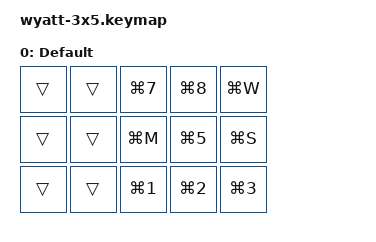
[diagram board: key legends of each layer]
#include <behaviors.dtsi>
#include <dt-bindings/zmk/bt.h>
#include <dt-bindings/zmk/keys.h>
#include <dt-bindings/zmk/outputs.h>

/ {
    combos {
        compatible = "zmk,combos";

        two-hand-hold-down-bootloader {
            bindings = <&bootloader>;
            key-positions = <0 10 4 14>;
        };

        bt_clr_all {
            bindings = <&bt BT_CLR_ALL>;
            key-positions = <0 1 2>;
        };

        bt_sel_0 {
            bindings = <&bt BT_SEL 0>;
            key-positions = <0 5 10>;
        };

        bt_sel_1 {
            bindings = <&bt BT_SEL 1>;
            key-positions = <1 6 11>;
        };

        bt_sel_2 {
            bindings = <&bt BT_SEL 2>;
            key-positions = <2 7 12>;
        };

        out_ble {
            bindings = <&out OUT_BLE>;
            key-positions = <3 8 13>;
        };

        out_usb {
            bindings = <&out OUT_USB>;
            key-positions = <4 9 14>;
        };

        k_pp {
            bindings = <&kp K_PLAY_PAUSE>;
            key-positions = <5 6>;
        };
    };

    keymap {
        compatible = "zmk,keymap";
        label = "wyatt-3x5";

        default_layer {
            label = "Default";
            bindings = <
&trans  &trans  &kp LG(N7)        &kp LG(N8)        &kp LG(W)
&trans  &trans  &kp LG(M)         &kp LG(N5)        &kp LG(S)
&trans  &trans  &kp LG(NUMBER_1)  &kp LG(NUMBER_2)  &kp LG(NUMBER_3)
            >;
        };
    };
};
